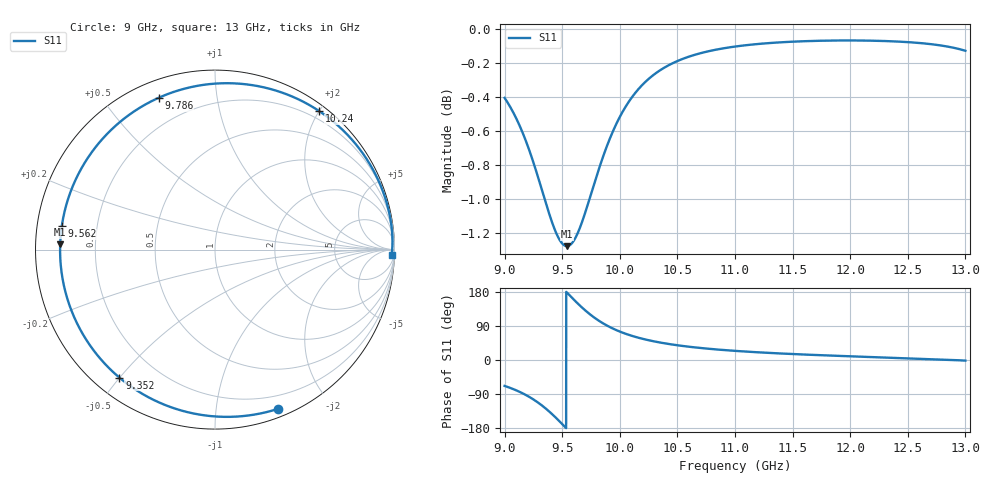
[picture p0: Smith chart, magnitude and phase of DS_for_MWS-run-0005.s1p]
! TOUCHSTONE file generated by CST DESIGN STUDIO
! Date and time: Tue Feb  4 16:05:12 2025
! Project name: C:\Work\MatlabApps\UnitCellOptimizationMatlab\CST\unitcell.cst
! Tree item: Tasks\Sweep1\SPara1\S-Parameters
! Header version: 2024
! Port assignment regex: !\s*Touchstone port\s*([0-9]+)\s*=\s*(CST MWS port|CST DES external port|CST DES block port)\s*(.+)\s* \(\"(.*)\"\)(\s*mode\s*([0-9]+))?.*
! Touchstone port assignment:
! Touchstone port 1 = CST DES external port 1 ("")
# GHz S MA R 50
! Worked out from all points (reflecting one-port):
!   4001 points, 9 GHz to 13 GHz, reference 50 ohm
!   lowest |S11| = -1.3 dB at 9.541 GHz (marker M1), VSWR 13.61, Z = 3.67 + j0.874 ohm
!   phase of S11 starts at -68 deg and turns -293 deg over the sweep
!   S11 on the Smith chart (normalised r, x): 9 GHz: 0.07, -1.47; 9.352 GHz: 0.07, -0.50; 9.562 GHz: 0.07, +0.08; 9.786 GHz: 0.08, +0.69; 10.24 GHz: 0.09, +2.00; 13 GHz: 30, -56
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9  0.9542 -68.4
9.034  0.9502 -72.0
9.098  0.9415 -79.7
9.207  0.9225 -96.1
9.283  0.9061 -110.8
9.352  0.8901 -126.8
9.393  0.881 -137.5
9.434  0.8731 -149.1
9.5  0.8647 -169.1
9.541  0.8631 178.0
9.562  0.8635 171.4
9.616  0.8682 154.7
9.678  0.8785 136.8
9.731  0.8898 123.0
9.786  0.9022 110.3
9.831  0.9121 101.1
9.881  0.9222 92.1
10  0.942 75.0
10.112  0.9553 63.1
10.238  0.9657 53.0
10.36  0.9727 45.5
10.5  0.9783 38.9
10.721  0.9839 31.1
11  0.9879 24.1
11.5  0.9912 15.7
12  0.992 9.8
12.5  0.9909 4.6
13  0.9851 -1.6
